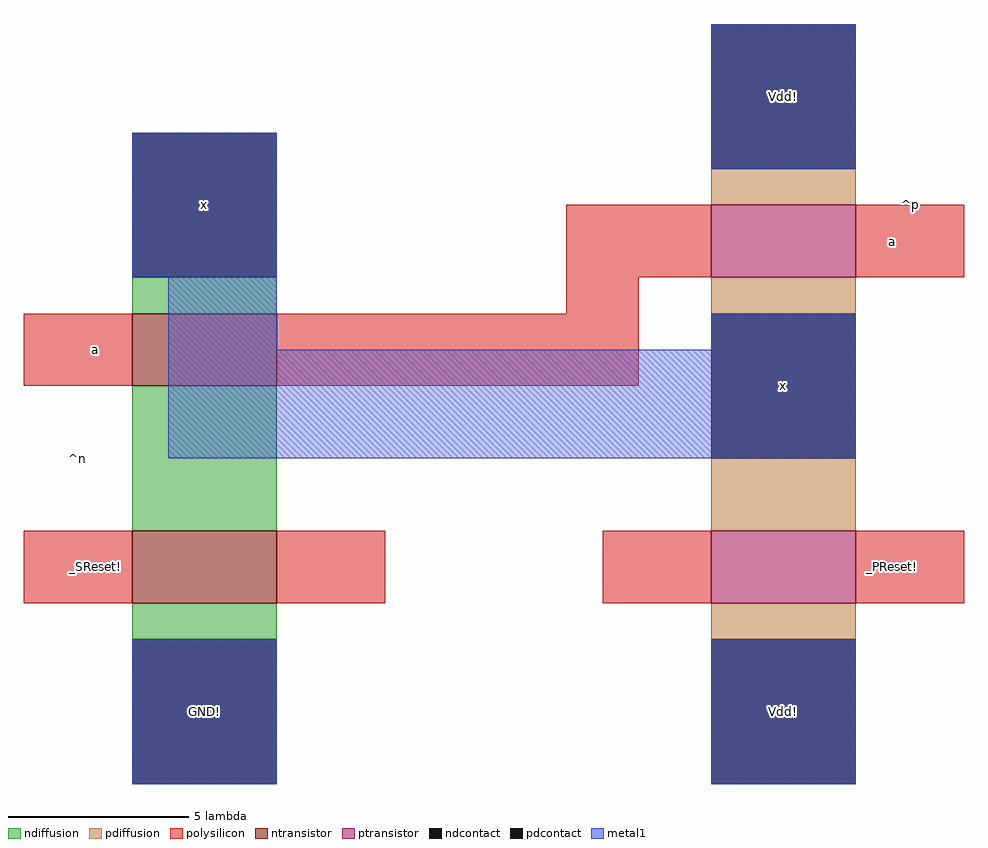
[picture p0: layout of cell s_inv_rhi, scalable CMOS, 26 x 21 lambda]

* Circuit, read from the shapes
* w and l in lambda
.subckt s_inv_rhi GND! Vdd! _PReset! _SReset! a x
M1 n1 _SReset! GND! VSUBS nfet w=4 l=2
M2 x a n1 VSUBS nfet w=4 l=2
M3 x _PReset! Vdd! NWELL pfet w=4 l=2
M4 Vdd! a x NWELL pfet w=4 l=2
.ends

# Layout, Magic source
magic
tech scmos
<< ndiffusion >>
rect -8 58 -4 59
rect -8 52 -4 56
rect -8 49 -4 50
<< pdiffusion >>
rect 8 61 12 62
rect 8 58 12 59
rect 8 52 12 54
rect 8 49 12 50
<< ntransistor >>
rect -8 56 -4 58
rect -8 50 -4 52
<< ptransistor >>
rect 8 59 12 61
rect 8 50 12 52
<< polysilicon >>
rect 4 59 8 61
rect 12 59 15 61
rect 4 58 6 59
rect -11 56 -8 58
rect -4 56 6 58
rect -11 50 -8 52
rect -4 50 -1 52
rect 5 50 8 52
rect 12 50 15 52
<< ndcontact >>
rect -8 59 -4 63
rect -8 45 -4 49
<< pdcontact >>
rect 8 62 12 66
rect 8 54 12 58
rect 8 45 12 49
<< metal1 >>
rect -8 59 -4 63
rect 8 62 12 66
rect -7 57 -4 59
rect 8 57 12 58
rect -7 54 12 57
rect -8 45 -4 49
rect 8 45 12 49
<< labels >>
rlabel polysilicon -9 51 -9 51 3 _SReset!
rlabel polysilicon -9 57 -9 57 3 a
rlabel polysilicon 13 51 13 51 1 _PReset!
rlabel space -11 45 -8 63 7 ^n
rlabel polysilicon 13 60 13 60 7 a
rlabel space 12 56 15 66 3 ^p
rlabel pdcontact 10 47 10 47 5 Vdd!
rlabel ndcontact -6 61 -6 61 4 x
rlabel ndcontact -6 47 -6 47 5 GND!
rlabel pdcontact 10 64 10 64 5 Vdd!
rlabel pdcontact 10 56 10 56 7 x
<< end >>
